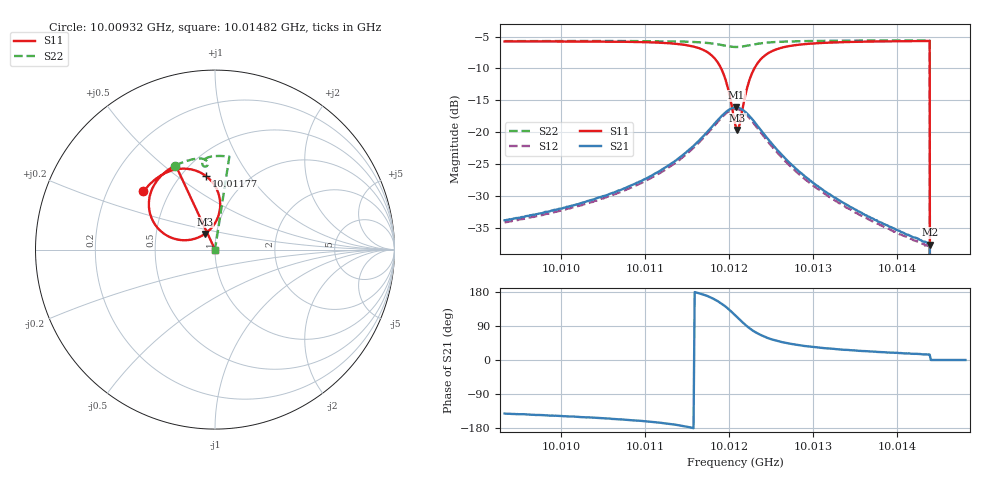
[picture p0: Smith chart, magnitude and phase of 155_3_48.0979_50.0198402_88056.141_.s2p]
#  HZ  S  RI  R  50.00
! Rohde & Schwarz Vector Network Analyzer
! Rohde-Schwarz,ZNB20-2Port,1311601062101988,3.16
! Created: UTC 12/23/2023, 3:50:11 AM
! freq[Hz]  re:S11  im:S11  re:S21  im:S21  re:S12  im:S12  re:S22  im:S22
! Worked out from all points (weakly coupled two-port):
!   401 points, 10.00932 GHz to 10.01482 GHz, reference 50 ohm
!   highest |S21| = -16.13 dB at 10.01208 GHz (marker M1); lowest = -37.6 dB at 10.01439 GHz (marker M2)
!   lowest |S11| = -19.7 dB at 10.0121 GHz (marker M3), VSWR 1.23, Z = 44 + j7.74 ohm
!   |S11| at or under -10 dB: 10.01191 GHz to 10.0123 GHz (396.5 kHz wide, 0.00396 % of centre); 10.01439 GHz to end of sweep
!   |S22| runs from - to -5.6 dB; largest |S21 - S12| = 0.0078
!   S11 on the Smith chart (normalised r, x): 10.00932 GHz: 0.36, +0.31; 10.01177 GHz: 0.65, +0.64; 10.01482 GHz: 1.00, +0.00
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1.0009322e10  -0.3996 0.3241  -0.0159 -0.0127  -0.0147 -0.0129  -0.222 0.4675
1.0010243e10  -0.3448 0.3816  -0.0243 -0.0136  -0.0227 -0.0141  -0.1655 0.4915
1.0011164e10  -0.2451 0.4397  -0.0476 -0.0125  -0.0452 -0.0143  -0.1015 0.5068
1.0011562e10  -0.144 0.4488  -0.0765 -0.00104  -0.0739 -0.00469  -0.0679 0.5057
1.0011768e10  -0.0499 0.4094  -0.1023 0.0249  -0.1004 0.019  -0.0485 0.4965
1.0011865e10  0.000917 0.3526  -0.1126 0.0519  -0.1121 0.0443  -0.0416 0.487
1.0011933e10  0.0258 0.2858  -0.1137 0.0787  -0.1143 0.0713  -0.0397 0.4781
1.0011988e10  0.0262 0.2175  -0.1055 0.1041  -0.1073 0.0971  -0.0419 0.4703
1.0012071e10  -0.0257 0.114  -0.0743 0.1373  -0.0779 0.1307  -0.0512 0.4628
1.0012084e10  -0.0413 0.0992  -0.0668 0.1412  -0.0708 0.1345  -0.0533 0.4625
1.0012098e10  -0.057 0.0871  -0.0596 0.1441  -0.0637 0.1376  -0.0554 0.4623
1.0012126e10  -0.0932 0.0674  -0.0444 0.1476  -0.0482 0.1418  -0.0596 0.4631
1.0012194e10  -0.1881 0.0529  -0.00719 0.1439  -0.0111 0.1387  -0.0679 0.4691
1.0012249e10  -0.254 0.0709  0.0164 0.1314  0.0109 0.127  -0.071 0.4766
1.0012373e10  -0.3393 0.1475  0.0418 0.0962  0.0366 0.0935  -0.0679 0.4924
1.0012593e10  -0.3683 0.2632  0.0457 0.0535  0.0416 0.0525  -0.0506 0.5087
1.0012992e10  -0.3368 0.3639  0.0331 0.0232  0.0306 0.0235  -0.0179 0.5189
1.0013912e10  -0.256 0.4477  0.0171 0.00607  0.016 0.00681  0.0479 0.5208
1.0014366e10  -0.2214 0.4695  0.0131 0.00334  0.0122 0.00396  0.0782 0.518
1.0014393e10  -0.2194 0.4705  0.0127 0.00319  0.0121 0.00391  0.0799 0.5177
1.0014435e10  0 0  0 0  0 0  0 0
1.0014819e10  0 0  0 0  0 0  0 0
